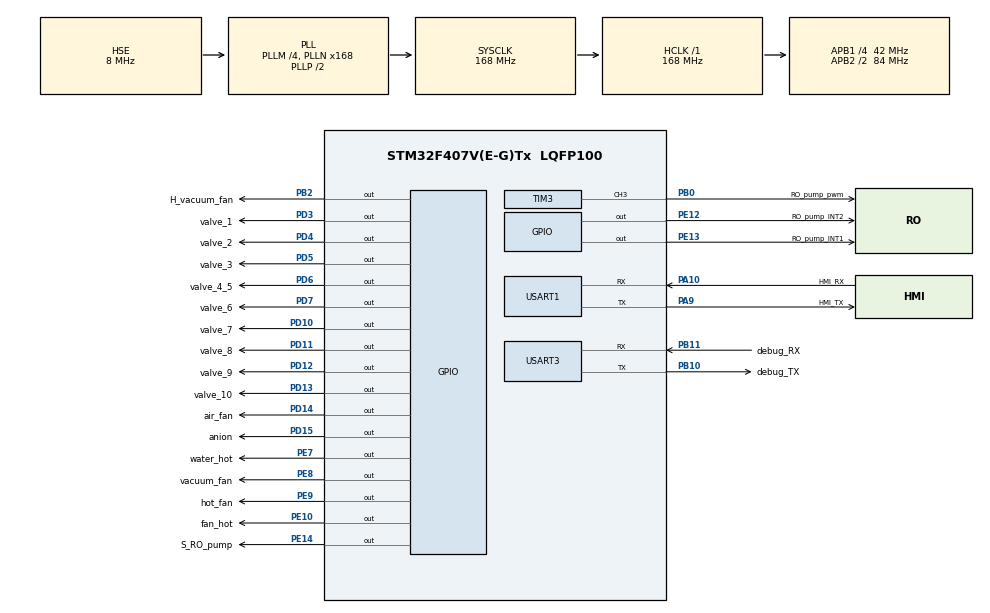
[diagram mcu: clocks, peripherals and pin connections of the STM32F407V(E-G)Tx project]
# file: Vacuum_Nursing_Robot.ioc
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Mcu.Family=STM32F4
Mcu.Name=STM32F407V(E-G)Tx
Mcu.Package=LQFP100
NVIC.PriorityGroup=NVIC_PRIORITYGROUP_4
NVIC.USART1_IRQn=true\:0\:0\:false\:false\:true\:true\:true\:true
PA10.GPIO_Label=HMI_RX
PA10.Mode=Asynchronous
PA10.Signal=USART1_RX
PA13.Mode=Serial_Wire
PA13.Signal=SYS_JTMS-SWDIO
PA14.Mode=Serial_Wire
PA14.Signal=SYS_JTCK-SWCLK
PA9.GPIO_Label=HMI_TX
PA9.Mode=Asynchronous
PA9.Signal=USART1_TX
PB0.GPIO_Label=RO_pump_pwm
PB0.Signal=S_TIM3_CH3
PB10.GPIO_Label=debug_TX
PB10.Mode=Asynchronous
PB10.Signal=USART3_TX
PB11.GPIO_Label=debug_RX
PB11.Mode=Asynchronous
PB11.Signal=USART3_RX
PB2.GPIO_Label=H_vacuum_fan
PB2.Signal=GPIO_Output
PC14-OSC32_IN.Mode=LSE-External-Oscillator
PC14-OSC32_IN.Signal=RCC_OSC32_IN
PC15-OSC32_OUT.Mode=LSE-External-Oscillator
PC15-OSC32_OUT.Signal=RCC_OSC32_OUT
PD10.GPIO_Label=valve_7
PD10.Signal=GPIO_Output
PD11.GPIO_Label=valve_8
PD11.Signal=GPIO_Output
PD12.GPIO_Label=valve_9
PD12.Signal=GPIO_Output
PD13.GPIO_Label=valve_10
PD13.Signal=GPIO_Output
PD14.GPIO_Label=air_fan
PD14.Signal=GPIO_Output
PD15.GPIO_Label=anion
PD15.Signal=GPIO_Output
PD3.GPIO_Label=valve_1
PD3.Signal=GPIO_Output
PD4.GPIO_Label=valve_2
PD4.Signal=GPIO_Output
PD5.GPIO_Label=valve_3
PD5.Signal=GPIO_Output
PD6.GPIO_Label=valve_4_5
PD6.Signal=GPIO_Output
PD7.GPIO_Label=valve_6
PD7.Signal=GPIO_Output
PE10.GPIO_Label=fan_hot
PE10.Signal=GPIO_Output
PE12.GPIO_Label=RO_pump_INT2
PE12.Signal=GPIO_Output
PE13.GPIO_Label=RO_pump_INT1
PE13.Signal=GPIO_Output
PE14.GPIO_Label=S_RO_pump
PE14.Signal=GPIO_Output
PE7.GPIO_Label=water_hot
PE7.Signal=GPIO_Output
PE8.GPIO_Label=vacuum_fan
PE8.Signal=GPIO_Output
PE9.GPIO_Label=hot_fan
PE9.Signal=GPIO_Output
PH0-OSC_IN.Mode=HSE-External-Oscillator
PH0-OSC_IN.Signal=RCC_OSC_IN
PH1-OSC_OUT.Mode=HSE-External-Oscillator
PH1-OSC_OUT.Signal=RCC_OSC_OUT
ProjectManager.HeapSize=0x200
ProjectManager.StackSize=0x400
ProjectManager.TargetToolchain=MDK-ARM V5.32
RCC.48MHZClocksFreq_Value=84000000
RCC.AHBFreq_Value=168000000
RCC.APB1CLKDivider=RCC_HCLK_DIV4
RCC.APB1Freq_Value=42000000
RCC.APB1TimFreq_Value=84000000
RCC.APB2CLKDivider=RCC_HCLK_DIV2
RCC.APB2Freq_Value=84000000
RCC.APB2TimFreq_Value=168000000
RCC.CortexFreq_Value=168000000
RCC.HCLKFreq_Value=168000000
RCC.HSE_VALUE=8000000
RCC.HSI_VALUE=16000000
RCC.PLLM=4
RCC.PLLN=168
RCC.PLLSourceVirtual=RCC_PLLSOURCE_HSE
RCC.SYSCLKFreq_VALUE=168000000
RCC.SYSCLKSource=RCC_SYSCLKSOURCE_PLLCLK
RCC.VCOOutputFreq_Value=336000000
SH.S_TIM3_CH3.0=TIM3_CH3,PWM Generation3 CH3
TIM3.AutoReloadPreload=TIM_AUTORELOAD_PRELOAD_ENABLE
TIM3.Channel-PWM\ Generation3\ CH3=TIM_CHANNEL_3
TIM3.Period=100-1
TIM3.Prescaler=84-1
USART1.VirtualMode=VM_ASYNC
USART3.VirtualMode=VM_ASYNC
VP_TIM3_VS_ClockSourceINT.Mode=Internal
VP_TIM6_VS_ClockSourceINT.Mode=Enable_Timer
board=custom

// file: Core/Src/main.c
/* USER CODE BEGIN Header */
/**
  ******************************************************************************
  * @file           : main.c
  * @brief          : Main program body
  ******************************************************************************
  * @attention
  *
  * Copyright (c) 2026 STMicroelectronics.
  * All rights reserved.
  *
  * This software is licensed under terms that can be found in the LICENSE file
  * in the root directory of this software component.
  * If no LICENSE file comes with this software, it is provided AS-IS.
  *
  ******************************************************************************
  */
/* USER CODE END Header */
#include "main.h"
#include "tim.h"
#include "usart.h"
#include "gpio.h"

/* USER CODE BEGIN Includes */
#include "bsp_actuator.h"
#include "bsp_systick.h"
#include "bsp_console.h"
#include "svc_scheduler.h"
#include "app_tasks.h"
#include "app_flow_manager.h"
#include "app_workflows.h"

/* USER CODE END Includes */

/* USER CODE BEGIN PTD */

 //#define updata_UI_time_ms    20   //多少ms更新屏幕显示

 extern volatile uint8_t  debug_rx_byte ;//两个用于电脑串口调试到（usart3）
 extern volatile uint8_t  debug_print_flag ;

extern UART_HandleTypeDef huart3;
/* USER CODE END PTD */

void SystemClock_Config(void);

int main(void)
{

  /* MCU Configuration--------------------------------------------------------*/

  /* Reset of all peripherals, Initializes the Flash interface and the Systick. */
  HAL_Init();

  /* Configure the system clock */
  SystemClock_Config();

  /* Initialize all configured peripherals */
  MX_GPIO_Init();
  MX_TIM6_Init();
  MX_USART1_UART_Init();
  MX_USART3_UART_Init();
  MX_TIM3_Init();
  /* USER CODE BEGIN 2 */

	// 启动 TIM3 通道3 的 PWM 输出
if (HAL_TIM_PWM_Start(&htim3, TIM_CHANNEL_3) != HAL_OK) {
    Error_Handler();
}

	queue_reset();
	HAL_Delay(300);    //用于确保硬件和外设已经完全准备好。
	HAL_UART_Receive_IT(&huart1,&uart_rx_buf, 1);

	printf("is connect\r\n");

	FlowManager_Init();//初始化工作流程管理器
	Sched_Init();//初始化任务调度器
	Sched_Register(UpdateUI, 200);//注册屏幕更新任务 200ms间隔
	Sched_Register(HMI_ProcessTask, 0);//注册单片机接受处理串口频信号，每次都进行
  Sched_Register(FlowManager_Tick, 1000);//注册任务流程进行任务，每1秒更新一次

  HAL_Delay(3000);//等待屏幕完全启动（注意，如果已经连接屏幕最好先按一次单片机复位键）
	RefreshAllScreensData();//更新所有设置界面的参数

	HAL_GPIO_WritePin(valve_1_GPIO_Port,valve_1_Pin,0);
  /* USER CODE END 2 */

  /* Infinite loop */
  /* USER CODE BEGIN WHILE */
  while (1)
  {

		Sched_Run();//任务调度器用于执行注册的任务

//	HAL_GPIO_TogglePin(valve_1_GPIO_Port,valve_1_Pin);

		   if (debug_print_flag)
		{
      debug_print_flag = 0;
      printf("rx: %02X\r\n", debug_rx_byte);  // 安全输出到电脑串口
    }

    /* USER CODE END WHILE */

  }
}

void SystemClock_Config(void)
{
  RCC_OscInitTypeDef RCC_OscInitStruct = {0};
  RCC_ClkInitTypeDef RCC_ClkInitStruct = {0};

  /** Configure the main internal regulator output voltage
  */
  __HAL_RCC_PWR_CLK_ENABLE();
  __HAL_PWR_VOLTAGESCALING_CONFIG(PWR_REGULATOR_VOLTAGE_SCALE1);

  /** Initializes the RCC Oscillators according to the specified parameters
  * in the RCC_OscInitTypeDef structure.
  */
  RCC_OscInitStruct.OscillatorType = RCC_OSCILLATORTYPE_HSE;
  RCC_OscInitStruct.HSEState = RCC_HSE_ON;
  RCC_OscInitStruct.PLL.PLLState = RCC_PLL_ON;
  RCC_OscInitStruct.PLL.PLLSource = RCC_PLLSOURCE_HSE;
  RCC_OscInitStruct.PLL.PLLM = 4;
  RCC_OscInitStruct.PLL.PLLN = 168;
  RCC_OscInitStruct.PLL.PLLP = RCC_PLLP_DIV2;
  RCC_OscInitStruct.PLL.PLLQ = 4;
  if (HAL_RCC_OscConfig(&RCC_OscInitStruct) != HAL_OK)
  {
    Error_Handler();
  }

  /** Initializes the CPU, AHB and APB buses clocks
  */
  RCC_ClkInitStruct.ClockType = RCC_CLOCKTYPE_HCLK|RCC_CLOCKTYPE_SYSCLK
                              |RCC_CLOCKTYPE_PCLK1|RCC_CLOCKTYPE_PCLK2;
  RCC_ClkInitStruct.SYSCLKSource = RCC_SYSCLKSOURCE_PLLCLK;
  RCC_ClkInitStruct.AHBCLKDivider = RCC_SYSCLK_DIV1;
  RCC_ClkInitStruct.APB1CLKDivider = RCC_HCLK_DIV4;
  RCC_ClkInitStruct.APB2CLKDivider = RCC_HCLK_DIV2;

  if (HAL_RCC_ClockConfig(&RCC_ClkInitStruct, FLASH_LATENCY_5) != HAL_OK)
  {
    Error_Handler();
  }
}

void Error_Handler(void)
{
  __disable_irq();
  while (1)
  {
  }
}
